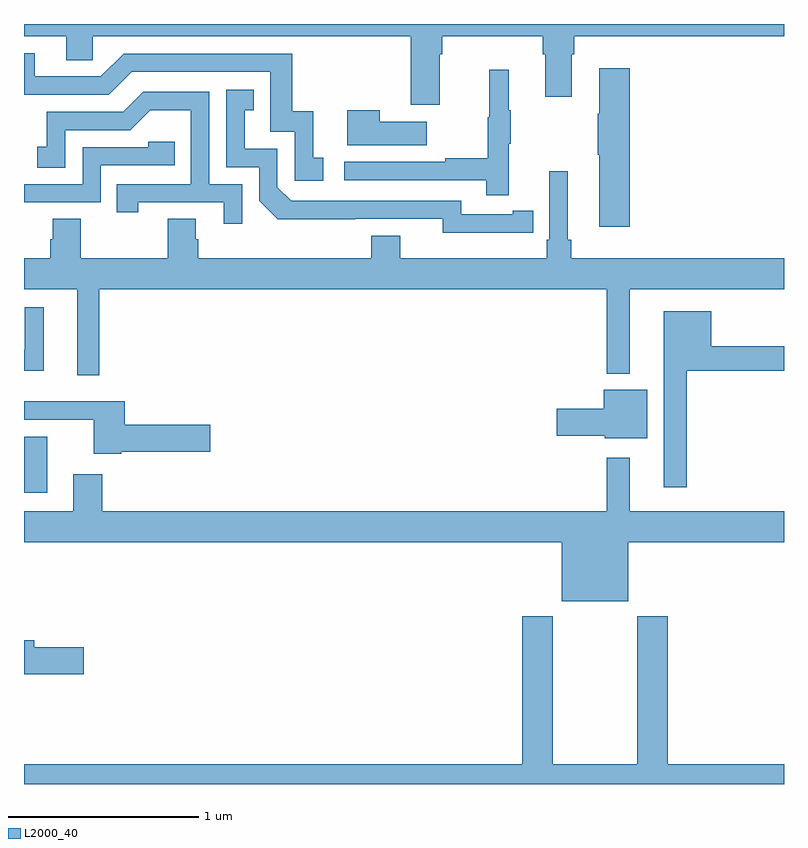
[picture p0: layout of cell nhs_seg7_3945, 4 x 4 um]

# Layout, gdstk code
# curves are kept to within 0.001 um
import gdstk
lib = gdstk.Library(unit=1e-6, precision=1e-09)
def R(c, l, rs):  # rectangles x0, y0, x1, y1
    for r in rs: c.add(gdstk.rectangle(r[:2], r[2:], *l))
def P(c, l, *ps):  # polygons
    for p in ps: c.add(gdstk.Polygon(p, *l))
L2000_40 = (2000, 40)

nhs_seg7_3945 = lib.new_cell('nhs_seg7_3945')
R(nhs_seg7_3945, L2000_40, [(361,1011.534,361.123,1011.828)])
P(nhs_seg7_3945, L2000_40, [(363.187,1013.84),(363.2,1013.84),(363.2,1013.936),(363.731,1013.936),(363.731,1013.84),(363.743,1013.84),(363.743,1013.616),(363.883,1013.616),(363.883,1013.84),(363.896,1013.84),(363.896,1013.936),(365,1013.936),(365,1014),(361,1014),(361,1013.936),(361.223,1013.936),(361.223,1013.809),(361.362,1013.809),(361.362,1013.936),(363.035,1013.936),(363.035,1013.574),(363.187,1013.574)],
  [(362.575,1013.295),(362.522,1013.295),(362.522,1013.542),(362.411,1013.542),(362.411,1013.844),(361.524,1013.844),(361.404,1013.724),(361.057,1013.724),(361.057,1013.847),(361,1013.847),(361,1013.628),(361.446,1013.628),(361.566,1013.748),(362.295,1013.748),(362.295,1013.433),(362.424,1013.433),(362.424,1013.175),(362.575,1013.175)],
  [(364.187,1013.767),(364.028,1013.767),(364.028,1013.528),(364.021,1013.528),(364.021,1013.311),(364.028,1013.311),(364.028,1012.932),(364.187,1012.932)],
  [(363.551,1013.371),(363.562,1013.371),(363.562,1013.545),(363.551,1013.545),(363.551,1013.758),(363.448,1013.758),(363.448,1013.508),(363.441,1013.508),(363.441,1013.294),(363.217,1013.294),(363.217,1013.274),(362.685,1013.274),(362.685,1013.178),(363.433,1013.178),(363.433,1013.1),(363.551,1013.1)],
  [(363.572,1012.902),(363.68,1012.902),(363.68,1013.018),(363.572,1013.018),(363.572,1012.998),(363.3,1012.998),(363.3,1013.07),(362.406,1013.07),(362.334,1013.142),(362.334,1013.343),(362.161,1013.343),(362.161,1013.547),(362.21,1013.547),(362.21,1013.653),(362.064,1013.653),(362.064,1013.247),(362.238,1013.247),(362.238,1013.07),(362.336,1012.973),(363.204,1012.974),(363.204,1012.901)],
  [(362.148,1013.157),(361.974,1013.157),(361.974,1013.643),(361.628,1013.643),(361.523,1013.538),(361.12,1013.538),(361.12,1013.353),(361.071,1013.353),(361.071,1013.244),(361.218,1013.244),(361.218,1013.442),(361.56,1013.442),(361.664,1013.546),(361.878,1013.546),(361.878,1013.157),(361.489,1013.157),(361.489,1013.01),(361.6,1013.01),(361.6,1013.061),(362.051,1013.061),(362.051,1012.95),(362.148,1012.95)],
  [(363.121,1013.485),(362.873,1013.485),(362.873,1013.545),(362.702,1013.545),(362.702,1013.363),(363.121,1013.363)],
  [(361.404,1013.256),(361.793,1013.256),(361.793,1013.379),(361.653,1013.379),(361.653,1013.352),(361.308,1013.352),(361.308,1013.157),(361,1013.157),(361,1013.061),(361.404,1013.061)],
  [(364.068,1012.16),(364.189,1012.16),(364.189,1012.604),(365,1012.604),(365,1012.768),(363.881,1012.768),(363.881,1012.864),(363.862,1012.864),(363.862,1013.224),(363.765,1013.224),(363.765,1012.864),(363.752,1012.864),(363.752,1012.768),(362.98,1012.768),(362.98,1012.885),(362.828,1012.885),(362.828,1012.768),(361.916,1012.768),(361.916,1012.866),(361.903,1012.866),(361.903,1012.976),(361.756,1012.976),(361.756,1012.768),(361.299,1012.768),(361.299,1012.976),(361.151,1012.976),(361.151,1012.866),(361.139,1012.866),(361.139,1012.768),(361,1012.768),(361,1012.604),(361.28,1012.604),(361.28,1012.152),(361.397,1012.152),(361.397,1012.604),(364.068,1012.604)],
  [(361.103,1012.51),(361.004,1012.51),(361.004,1012.285),(361,1012.285),(361,1012.175),(361.103,1012.175)],
  [(364.489,1012.174),(365,1012.174),(365,1012.303),(364.618,1012.303),(364.618,1012.489),(364.367,1012.489),(364.367,1011.561),(364.489,1011.561)],
  [(364.279,1012.075),(364.052,1012.075),(364.052,1011.974),(363.804,1011.974),(363.804,1011.832),(364.056,1011.832),(364.056,1011.821),(364.279,1011.821)],
  [(361.512,1011.748),(361.981,1011.748),(361.981,1011.89),(361.529,1011.89),(361.529,1012.015),(361,1012.015),(361,1011.918),(361.367,1011.918),(361.367,1011.737),(361.512,1011.737)],
  [(364.18,1011.272),(365,1011.272),(365,1011.436),(364.189,1011.436),(364.189,1011.718),(364.068,1011.718),(364.068,1011.436),(361.412,1011.436),(361.412,1011.631),(361.259,1011.631),(361.259,1011.436),(361,1011.436),(361,1011.272),(363.83,1011.272),(363.83,1010.963),(364.18,1010.963)],
  [(361,1010),(365,1010),(365,1010.104),(364.388,1010.104),(364.388,1010.884),(364.228,1010.884),(364.228,1010.104),(363.783,1010.104),(363.783,1010.884),(363.623,1010.884),(363.623,1010.104),(361,1010.104)],
  [(361.315,1010.72),(361.054,1010.72),(361.054,1010.756),(361,1010.756),(361,1010.578),(361.315,1010.578)])

lib.write_gds('nhs_seg7_3945.gds')
